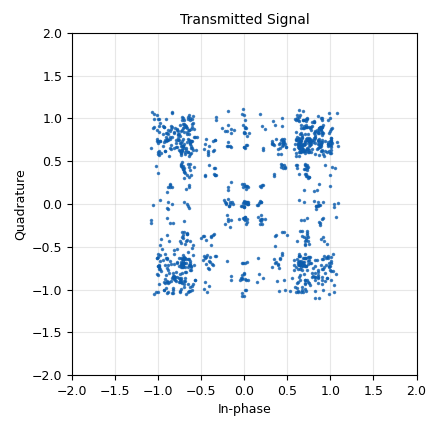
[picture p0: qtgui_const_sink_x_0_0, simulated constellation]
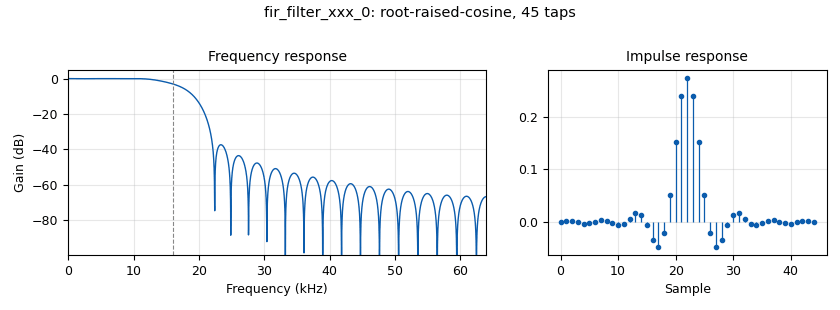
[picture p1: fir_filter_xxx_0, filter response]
options:
  parameters:
    author: telsizlab
    generate_options: qt_gui
    id: Example1
    output_language: python
    title: CommSim1
  states: {}

blocks:
- name: delay
  id: variable_qtgui_range
  parameters:
    label: Delay
    start: '0'
    step: '1'
    stop: '200'
    value: '50'
  states: {}
- name: my_constellation
  id: variable_constellation
  parameters:
    const_points: '[-1-1j, -1+1j, 1+1j, 1-1j]'
    dims: '1'
    normalization: digital.constellation.AMPLITUDE_NORMALIZATION
    precision: '8'
    rot_sym: '4'
    sym_map: '[0, 1, 3, 2]'
    type: calcdist
  states: {}
- name: my_matched_filter_taps
  id: variable_rrc_filter_taps
  parameters:
    alpha: '0.35'
    gain: '1.0'
    ntaps: '44'
    samp_rate: samp_rate
    sym_rate: samp_rate/4
  states: {}
- name: samp_rate
  id: variable
  parameters:
    value: '128000'
  states: {}
- name: analog_random_source_x_0
  id: analog_random_source_x
  parameters:
    max: '256'
    min: '0'
    num_samps: '100000'
    repeat: 'True'
    type: byte
  states: {}
- name: blocks_char_to_float_0
  id: blocks_char_to_float
  parameters:
    scale: '1'
  states: {}
- name: blocks_char_to_float_0_0
  id: blocks_char_to_float
  parameters:
    scale: '1'
  states: {}
- name: blocks_delay_0
  id: blocks_delay
  parameters:
    delay: '50'
    type: float
  states: {}
- name: blocks_sub_xx_0
  id: blocks_sub_xx
  parameters:
    type: float
  states: {}
- name: blocks_unpack_k_bits_bb_0
  id: blocks_unpack_k_bits_bb
  parameters:
    k: '2'
  states: {}
- name: blocks_unpack_k_bits_bb_0_0
  id: blocks_unpack_k_bits_bb
  parameters:
    k: '2'
  states: {}
- name: digital_constellation_decoder_cb_0
  id: digital_constellation_decoder_cb
  parameters:
    constellation: my_constellation
  states: {}
- name: digital_constellation_modulator_0
  id: digital_constellation_modulator
  parameters:
    constellation: my_constellation
    differential: 'True'
    excess_bw: '0.35'
    samples_per_symbol: '4'
  states: {}
- name: digital_costas_loop_cc_0
  id: digital_costas_loop_cc
  parameters:
    order: '4'
    w: '.35'
  states: {}
- name: digital_diff_decoder_bb_0
  id: digital_diff_decoder_bb
  parameters:
    coding: digital.DIFF_DIFFERENTIAL
    modulus: '4'
  states: {}
- name: digital_map_bb_0
  id: digital_map_bb
  parameters:
    map: '[0, 1, 2, 3]'
  states: {}
- name: digital_symbol_sync_xx_0_0
  id: digital_symbol_sync_xx
  parameters:
    damping: '1.2'
    loop_bw: '.020'
    max_dev: '1.5'
    nfilters: '128'
    osps: '1'
    resamp_type: digital.IR_PFB_NO_MF
    sps: '4'
    ted_gain: '1.0'
    ted_type: digital.TED_GARDNER
    type: cc
  states: {}
- name: epy_block_0
  id: epy_block
  parameters:
    _source_code: "\"\"\"\nEmbedded Python Blocks:\n\nEach time this file is saved, GRC will instantiate the first class it finds\nto get ports and parameters of your block. The arguments to __init__  will\nbe the parameters. All of them are required to have default values!\n\"\"\"\n\nimport numpy as np\nfrom gnuradio import gr\n\n\nclass blk(gr.sync_block):  # other base classes are basic_block, decim_block, interp_block\n    \"\"\"Embedded Python Block example - a simple multiply const\"\"\"\n\n    def __init__(self, example_param=1.0):  # only default arguments here\n        \"\"\"arguments to this function show up as parameters in GRC\"\"\"\n        gr.sync_block.__init__(\n            self,\n            name='Coarse Frequency Correction',   # will show up in GRC\n            in_sig=[np.complex64],\n            out_sig=[np.complex64]\n        )\n        # if an attribute with the same name as a parameter is found,\n        # a callback is registered (properties work, too).\n        self.example_param = example_param\n\n    def work(self, input_items, output_items):\n        psd = np.fft.fftshift(np.abs(np.fft.fft(input_items[0]**4)))\n        \n        fs = 128000\n        f = np.linspace(-fs/2.0, fs/2.0, len(psd))\n        max_freq = f[np.argmax(psd)]\n        \n        Ts = 1/128000\n        t = np.arange(0, Ts*len(input_items[0]), Ts) # create time vector\n       \n        output_items[0][:] = input_items[0] * np.exp(-1j*2*np.pi*max_freq*t/2.0)\n        return len(output_items[0])\n\n\n        \n\n"
    example_param: '1.0'
  states: {state: disabled}
- name: fir_filter_xxx_0
  id: fir_filter_xxx
  parameters:
    decim: '1'
    taps: my_matched_filter_taps
    type: ccc
  states: {}
- name: qtgui_const_sink_x_0
  id: qtgui_const_sink_x
  parameters:
    name: '"Received signal after sync"'
    size: '1024'
    type: complex
  states: {}
- name: qtgui_const_sink_x_0_0
  id: qtgui_const_sink_x
  parameters:
    name: '"Transmitted Signal"'
    size: '1024'
    type: complex
  states: {}
- name: qtgui_const_sink_x_0_2
  id: qtgui_const_sink_x
  parameters:
    name: '"Received signal without sync"'
    size: '1024'
    type: complex
  states: {}
- name: qtgui_time_sink_x_0
  id: qtgui_time_sink_x
  parameters:
    name: '"Bits"'
    size: '128'
    srate: samp_rate
    type: float
  states: {}
- name: uhd_usrp_sink_0
  id: uhd_usrp_sink
  parameters:
    ant0: '"TX/RX"'
    bw0: '56000000'
    center_freq0: 2.4e9
    dev_addr: '"serial=31FD9BD"'
    gain0: '60'
    samp_rate: samp_rate
    sync: sync
    type: fc32
  states: {}
- name: uhd_usrp_source_0
  id: uhd_usrp_source
  parameters:
    ant0: '"RX2"'
    bw0: '56000000'
    center_freq0: 2.4e9
    dev_addr: '"serial=31FD9CA"'
    gain0: '60'
    samp_rate: samp_rate
    sync: sync
    type: fc32
  states: {}

connections:
- [analog_random_source_x_0, '0', blocks_unpack_k_bits_bb_0_0, '0']
- [analog_random_source_x_0, '0', digital_constellation_modulator_0, '0']
- [blocks_char_to_float_0, '0', blocks_sub_xx_0, '1']
- [blocks_char_to_float_0_0, '0', blocks_delay_0, '0']
- [blocks_delay_0, '0', blocks_sub_xx_0, '0']
- [blocks_sub_xx_0, '0', qtgui_time_sink_x_0, '0']
- [blocks_unpack_k_bits_bb_0, '0', blocks_char_to_float_0, '0']
- [blocks_unpack_k_bits_bb_0_0, '0', blocks_char_to_float_0_0, '0']
- [digital_constellation_decoder_cb_0, '0', digital_diff_decoder_bb_0, '0']
- [digital_constellation_modulator_0, '0', qtgui_const_sink_x_0_0, '0']
- [digital_constellation_modulator_0, '0', uhd_usrp_sink_0, '0']
- [digital_costas_loop_cc_0, '0', digital_constellation_decoder_cb_0, '0']
- [digital_costas_loop_cc_0, '0', qtgui_const_sink_x_0, '0']
- [digital_diff_decoder_bb_0, '0', digital_map_bb_0, '0']
- [digital_map_bb_0, '0', blocks_unpack_k_bits_bb_0, '0']
- [digital_symbol_sync_xx_0_0, '0', digital_costas_loop_cc_0, '0']
- [fir_filter_xxx_0, '0', digital_symbol_sync_xx_0_0, '0']
- [fir_filter_xxx_0, '0', qtgui_const_sink_x_0_2, '0']
- [uhd_usrp_source_0, '0', fir_filter_xxx_0, '0']

metadata:
  file_format: 1
